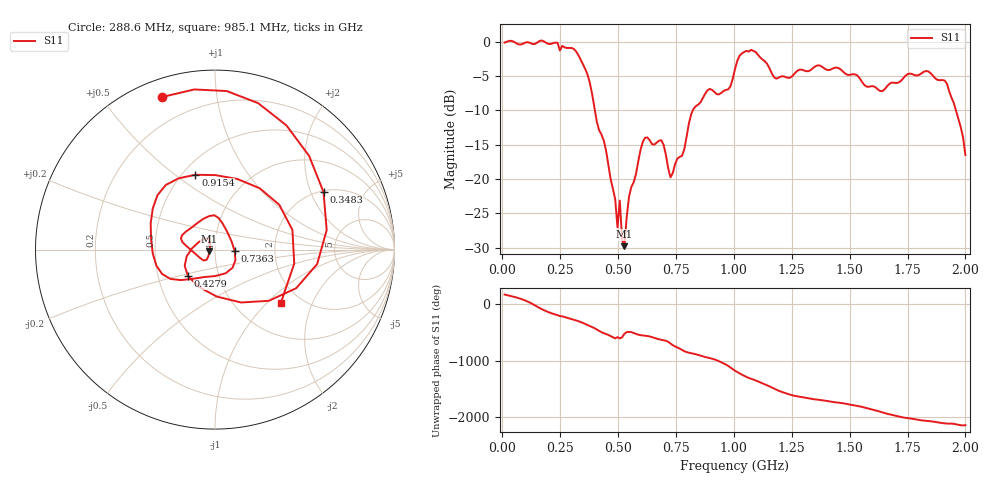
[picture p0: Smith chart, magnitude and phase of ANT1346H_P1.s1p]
!Created with skrf (http://scikit-rf.org).
# Hz S RI R 50.0
!freq ReS11 ImS11
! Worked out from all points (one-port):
!   201 points, 10 MHz to 2 GHz, reference 50 ohm
!   lowest |S11| = -29.8 dB at 527.4 MHz (marker M1), VSWR 1.07, Z = 47 - j0.865 ohm
!   |S11| at or under -10 dB: 399.7 MHz to 823.1 MHz (423.3 MHz wide, 69.2 % of centre); 1.959 GHz to end of sweep
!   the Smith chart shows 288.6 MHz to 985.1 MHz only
!   S11 on the Smith chart (normalised r, x): 288.6 MHz: 0.08, +0.71; 348.3 MHz: 2.05, +2.47; 427.9 MHz: 0.71, -0.22; 736.4 MHz: 1.25, -0.02; 915.5 MHz: 0.58, +0.59; 985.1 MHz: 1.60, -1.21
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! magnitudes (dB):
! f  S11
! 10 MHz  -0.1
! 258.8 MHz  -0.6
! 288.6 MHz  -0.9
! 348.3 MHz  -3.3
! 427.9 MHz  -13.5
! 487.6 MHz  -23.0
! 497.6 MHz  -27.1
! 507.5 MHz  -23.2
! 517.5 MHz  -28.9
! 527.4 MHz  -29.8
! 547.3 MHz  -22.6
! 617 MHz  -14.0
! 686.6 MHz  -14.4
! 736.4 MHz  -19.1
! 756.2 MHz  -17.0
! 786.1 MHz  -15.7
! 825.9 MHz  -9.8
! 915.5 MHz  -7.3
! 985.1 MHz  -6.5
! 1.005 GHz  -4.0
! 1.075 GHz  -1.2
! 1.174 GHz  -5.2
! 1.254 GHz  -5.0
! 1.502 GHz  -4.8
! 1.642 GHz  -7.2
! 1.751 GHz  -4.7
! 1.92 GHz  -6.1
! 2 GHz  -16.5
